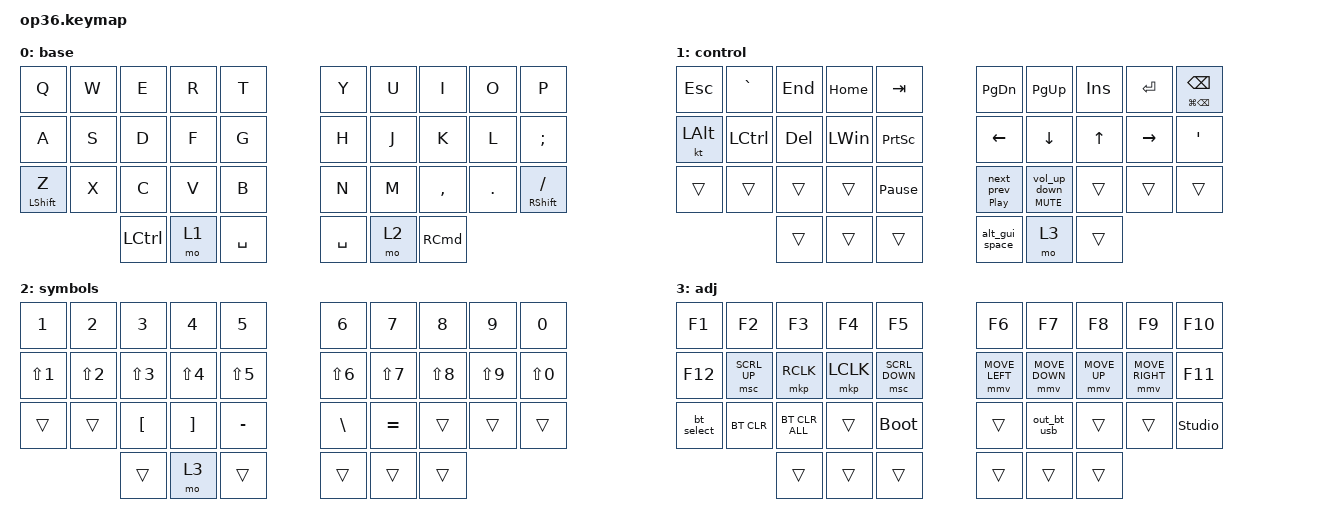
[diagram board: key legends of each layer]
#include "keys_ru.h"
#include <behaviors.dtsi>
#include <dt-bindings/zmk/bt.h>
#include <dt-bindings/zmk/keys.h>
#include <dt-bindings/zmk/outputs.h>
#include <dt-bindings/zmk/pointing.h>

&mt {
    quick-tap-ms = <200>;
    flavor = "tap-preferred";
    require-prior-idle-ms = <125>;
};

/ {
    behaviors {
        hml: home_row_mod_left {
            compatible = "zmk,behavior-hold-tap";
            #binding-cells = <2>;
            flavor = "balanced";
            require-prior-idle-ms = <150>;
            tapping-term-ms = <280>;
            quick-tap-ms = <175>;
            bindings = <&kp>, <&kp>;

            hold-trigger-key-positions = <5 6 7 8 9 15 16 17 18 19 25 26 27 28 29 33 34 35>;
            hold-trigger-on-release;
        };

        hmr: home_row_mod_right {
            compatible = "zmk,behavior-hold-tap";
            #binding-cells = <2>;
            flavor = "balanced";
            require-prior-idle-ms = <150>;
            tapping-term-ms = <280>;
            quick-tap-ms = <175>;
            bindings = <&kp>, <&kp>;

            hold-trigger-key-positions = <0 1 2 3 4 10 11 12 13 14 20 21 22 23 24 30 31 32>;
            hold-trigger-on-release;
        };

        next_prev: next_prev {
            compatible = "zmk,behavior-tap-dance";
            label = "NEXT_PREV";
            #binding-cells = <0>;
            bindings = <&kp C_NEXT>, <&kp C_PREV>;

            tapping-term-ms = <280>;
        };

        pp_next_prev: pp_next_prev {
            compatible = "zmk,behavior-hold-tap";
            label = "PP_NEXT_PREV";
            bindings = <&kp>, <&next_prev>;

            #binding-cells = <2>;
            tapping-term-ms = <280>;
            hold-trigger-key-positions = <17 5 6 15 16 25 26 35 5 6 7 8 9 15 16 17 18 19 25 26 27 28 29 33 34 35>;
            quick-tap-ms = <175>;
            require-prior-idle-ms = <150>;
            flavor = "balanced";
        };

        vol_up_down: vol_up_down {
            compatible = "zmk,behavior-tap-dance";
            label = "VOL_UP_DOWN";
            #binding-cells = <0>;
            bindings = <&kp C_VOLUME_UP>, <&kp C_VOLUME_DOWN>;

            tapping-term-ms = <280>;
        };

        mute_vol_up_down: mute_vol_up_down {
            compatible = "zmk,behavior-hold-tap";
            label = "MUTE_VOL_UP_DOWN";
            bindings = <&kp>, <&vol_up_down>;

            #binding-cells = <2>;
            tapping-term-ms = <280>;
            hold-trigger-key-positions = <5 6 7 8 9 15 16 17 18 19 25 26 27 28 29 33 34 35>;
            quick-tap-ms = <175>;
            flavor = "balanced";
            require-prior-idle-ms = <150>;
        };

        out_bt_usb: out_bt_usb {
            compatible = "zmk,behavior-tap-dance";
            label = "OUT_BT_USB";
            #binding-cells = <0>;
            tapping-term-ms = <280>;
            bindings = <&out OUT_BLE>, <&out OUT_USB>;
        };

        bt_select: bt_select {
            compatible = "zmk,behavior-tap-dance";
            label = "BT_SELECT";
            #binding-cells = <0>;
            tapping-term-ms = <280>;
            bindings =
                <&bt BT_SEL 0>,
                <&bt BT_SEL 1>,
                <&bt BT_SEL 2>,
                <&bt BT_SEL 3>;
        };

        alt_gui_space: alt_gui_space {
            compatible = "zmk,behavior-tap-dance";
            label = "ALT_GUI_SPACE";
            #binding-cells = <0>;
            bindings = <&kp LA(SPACE)>, <&kp LG(SPACE)>;

            tapping-term-ms = <280>;
        };

        backspace: backspace {
            compatible = "zmk,behavior-hold-tap";
            label = "BACKSPACE";
            bindings = <&kp>, <&kp>;

            #binding-cells = <2>;
            tapping-term-ms = <500>;
            flavor = "balanced";
            quick-tap-ms = <280>;
            require-prior-idle-ms = <150>;
            hold-trigger-key-positions = <0 1 2 3 4 10 11 12 13 14 20 21 22 23 24 30 31 32>;
        };
    };

    combos {
        compatible = "zmk,combos";

        o_sq_br {
            bindings = <&kp LBKT>;
            key-positions = <17 16>;
            layers = <0>;
        };

        c_sq_br {
            bindings = <&kp RBKT>;
            key-positions = <17 18>;
            layers = <0>;
        };

        eq {
            bindings = <&kp EQUAL>;
            key-positions = <7 8>;
            layers = <0>;
        };

        mns {
            bindings = <&kp MINUS>;
            key-positions = <7 6>;
            layers = <0>;
        };

        tab {
            bindings = <&kp TAB>;
            key-positions = <2 3>;
            layers = <0>;
        };

        tilda {
            bindings = <&kp GRAVE>;
            key-positions = <2 1>;
            layers = <0>;
        };

        bksp {
            bindings = <&kp BACKSPACE>;
            key-positions = <9 8>;
            layers = <0>;
        };

        esc {
            bindings = <&kp ESC>;
            key-positions = <0 1>;
            layers = <0>;
        };

        quote {
            bindings = <&kp SQT>;
            key-positions = <19 18>;
            layers = <0>;
        };
    };

    keymap {
        compatible = "zmk,keymap";

        base {
            bindings = <
  &kp Q          &kp W  &kp E  &kp R             &kp T                          &kp Y  &kp U     &kp I      &kp O    &kp P
  &kp A          &kp S  &kp D  &kp F             &kp G                          &kp H  &kp J     &kp K      &kp L    &kp SEMI
  &hml LSHIFT Z  &kp X  &kp C  &kp V             &kp B                          &kp N  &kp M     &kp COMMA  &kp DOT  &hmr RSHIFT FSLH
                               &kp LEFT_CONTROL  &mo 1  &kp SPACE    &kp SPACE  &mo 2  &kp RCMD
            >;
        };

        control {
            bindings = <
  &kp ESC       &kp GRAVE         &kp END     &kp HOME      &kp TAB                                    &kp PAGE_DOWN         &kp PG_UP                   &kp INSERT  &kp ENTER  &backspace LG(BACKSPACE) BACKSPACE
  &kt LEFT_ALT  &kp LEFT_CONTROL  &kp DELETE  &kp LEFT_WIN  &kp PRINTSCREEN                            &kp LEFT              &kp DOWN                    &kp UP      &kp RIGHT  &kp SQT
  &trans        &trans            &trans      &trans        &kp PAUSE_BREAK                            &pp_next_prev C_PP 0  &mute_vol_up_down C_MUTE 0  &trans      &trans     &trans
                                              &trans        &trans           &trans    &alt_gui_space  &mo 3                 &trans
            >;
        };

        symbols {
            bindings = <
  &kp N1      &kp N2      &kp N3            &kp N4             &kp N5                        &kp N6      &kp N7      &kp N8      &kp N9      &kp N0
  &kp LS(N1)  &kp LS(N2)  &kp LS(N3)        &kp LS(N4)         &kp LS(N5)                    &kp LS(N6)  &kp LS(N7)  &kp LS(N8)  &kp LS(N9)  &kp LS(N0)
  &trans      &trans      &kp LEFT_BRACKET  &kp RIGHT_BRACKET  &kp MINUS                     &kp BSLH    &kp EQUAL   &trans      &trans      &trans
                                            &trans             &mo 3       &trans    &trans  &trans      &trans
            >;
        };

        adj {
            bindings = <
  &kp F1      &kp F2        &kp F3          &kp F4     &kp F5                            &kp F6          &kp F7          &kp F8        &kp F9           &kp F10
  &kp F12     &msc SCRL_UP  &mkp RCLK       &mkp LCLK  &msc SCRL_DOWN                    &mmv MOVE_LEFT  &mmv MOVE_DOWN  &mmv MOVE_UP  &mmv MOVE_RIGHT  &kp F11
  &bt_select  &bt BT_CLR    &bt BT_CLR_ALL  &trans     &bootloader                       &trans          &out_bt_usb     &trans        &trans           &studio_unlock
                                            &trans     &trans          &trans    &trans  &trans          &trans
            >;
        };
    };
};
